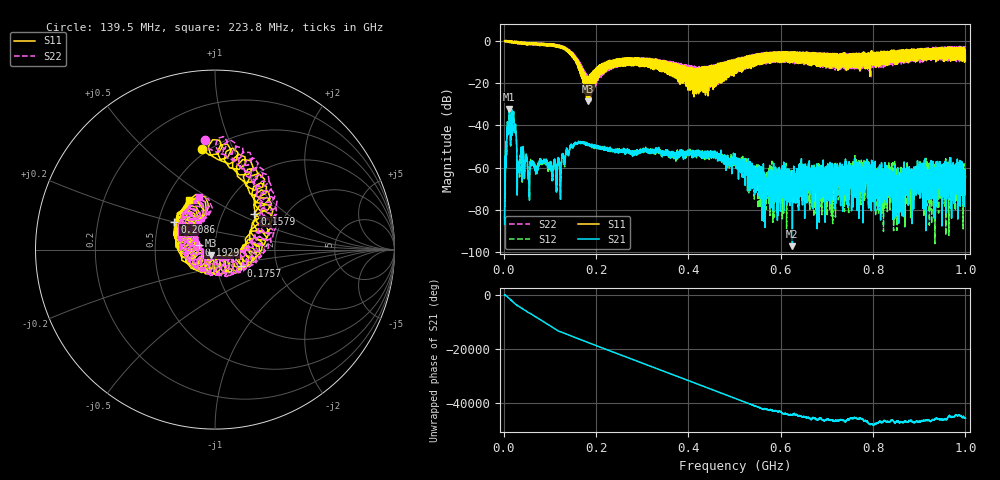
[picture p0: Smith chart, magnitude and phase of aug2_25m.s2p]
!Keysight Technologies N9923A: A.12.45
!Date: Saturday, 02 August 2025 19:13:42
!Timezone: (UTC+08:00) Kuala Lumpur, Singapore
!Model: N9923A
!Serial: MY61181427
!GPS Latitude:
!GPS Longitude:
!GPS TimeStamp: 0001-01-01 00:00:00Z
!GPS Seconds Since Last Read: 0
!CHECKSUM:1113248901
!Correction: S11(ON U)S21(ON U)S12(ON U)S22(ON U)
!S2P File: Measurements:S11,S21,S12,S22:
# Hz S DB R 50
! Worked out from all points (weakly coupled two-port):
!   4001 points, 2 MHz to 1 GHz, reference 50 ohm
!   highest |S21| = -32.24 dB at 12.23 MHz (marker M1); lowest = -97.1 dB at 625.3 MHz (marker M2)
!   lowest |S11| = -28.6 dB at 182.9 MHz (marker M3), VSWR 1.08, Z = 47.9 - j2.94 ohm
!   |S11| at or under -10 dB: 162.3 MHz to 223.5 MHz (61.21 MHz wide, 31.7 % of centre); 223.7 MHz to 225.1 MHz (1.427 MHz wide, 0.636 % of centre); 352.8 MHz to 483 MHz (130.2 MHz wide, 31.1 % of centre) (the widest 3 of 286)
!   |S22| runs from -29.2 to 0.1 dB; largest |S21 - S12| = 0.0024
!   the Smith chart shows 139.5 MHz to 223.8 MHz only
!   S11 on the Smith chart (normalised r, x): 139.5 MHz: 0.47, +0.76; 157.9 MHz: 1.41, +0.61; 175.7 MHz: 1.31, -0.25; 192.9 MHz: 0.83, +0.04; 208.6 MHz: 0.61, +0.20; 223.8 MHz: 0.65, +0.39
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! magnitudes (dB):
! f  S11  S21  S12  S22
! 2 MHz  -0.1  -86.8  -84.5  -0.1
! 12.23 MHz  -0.7  -32.2  -32.4  -0.7
! 21.71 MHz  -0.4  -34.4  -34.5  -0.5
! 32.44 MHz  -1.2  -61.7  -61.3  -1.0
! 55.89 MHz  -1.6  -75.4  -66.7  -1.5
! 118.5 MHz  -2.6  -55.5  -55.3  -2.7
! 139.5 MHz  -5.0  -53.6  -53.8  -4.3
! 157.9 MHz  -10.6  -48.7  -48.4  -9.2
! 168.4 MHz  -15.1  -48.2  -47.9  -15.4
! 175.7 MHz  -15.3  -48.2  -48.8  -14.5
! 182.9 MHz  -28.6  -48.9  -48.9  -23.5
! 192.9 MHz  -20.5  -49.7  -49.8  -24.7
! 208.6 MHz  -11.3  -50.8  -51.2  -12.2
! 223.8 MHz  -10.1  -51.0  -51.4  -10.2
! 334.8 MHz  -11.7  -52.1  -51.6  -9.4
! 417.2 MHz  -25.1  -52.2  -52.2  -15.2
! 501 MHz  -12.3  -58.1  -59.7  -13.6
! 565.6 MHz  -7.2  -76.8  -74.9  -6.1
! 625.3 MHz  -7.2  -97.1  -63.6  -9.3
! 667.4 MHz  -6.6  -63.4  -67.0  -10.6
! 833.8 MHz  -6.6  -69.5  -67.0  -8.0
! 1 GHz  -6.9  -64.3  -65.1  -2.9
